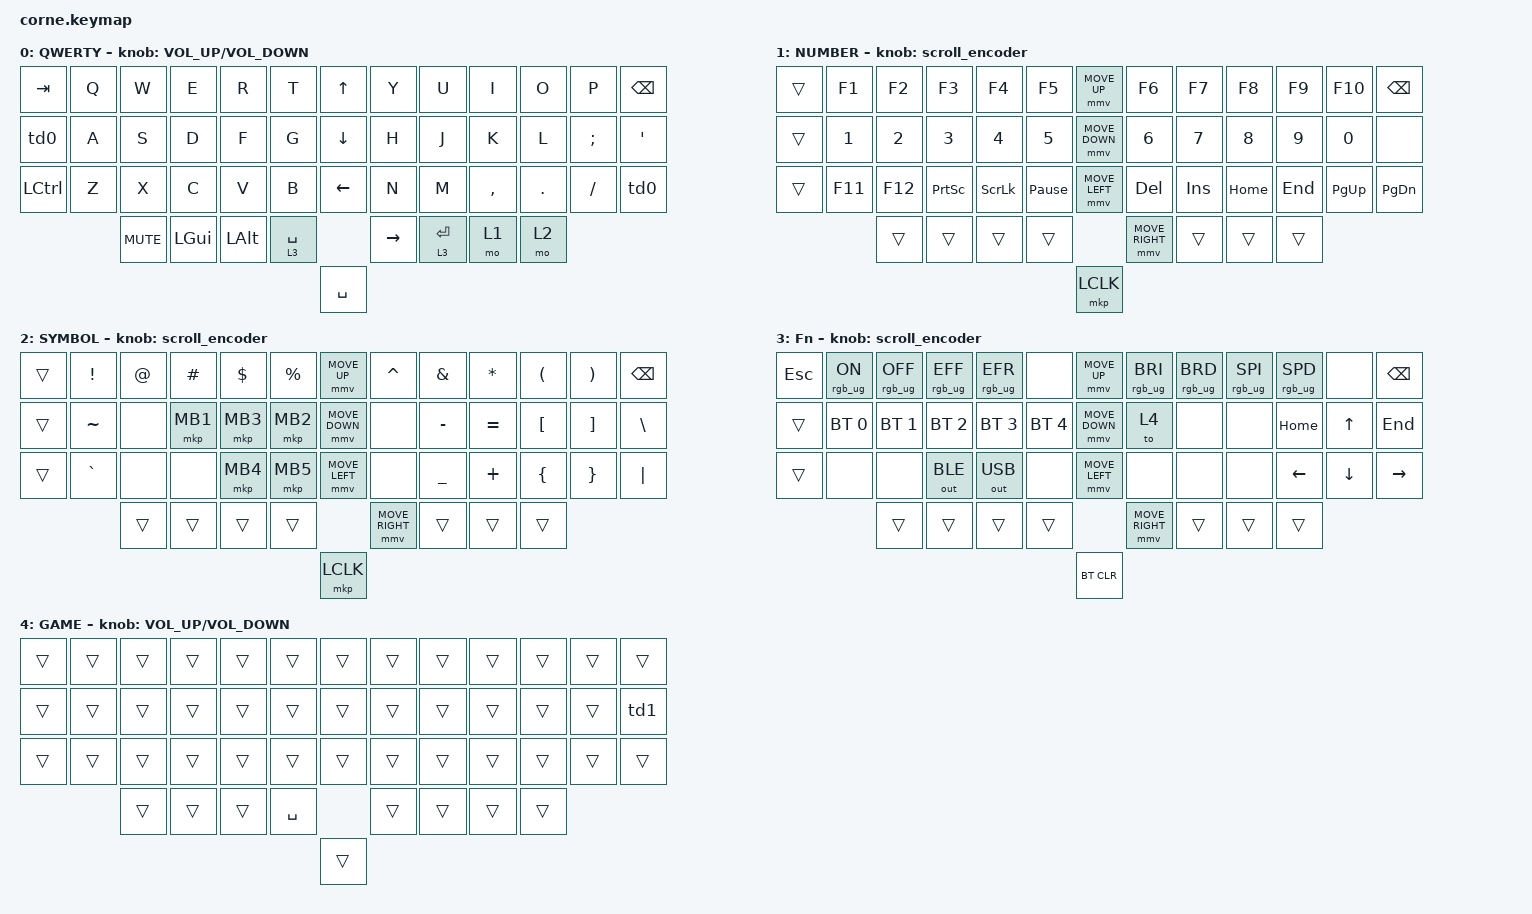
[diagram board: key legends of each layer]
#include <behaviors/mouse_keys.dtsi>
#include <behaviors.dtsi>
#include <dt-bindings/zmk/bt.h>
#include <dt-bindings/zmk/keys.h>
#include <dt-bindings/zmk/mouse.h>
#include <dt-bindings/zmk/outputs.h>
#include <dt-bindings/zmk/rgb.h>

#define ZMK_MOUSE_DEFAULT_MOVE_VAL 1200  // 600
#define ZMK_MOUSE_DEFAULT_SCRL_VAL 20    // 10
#define U_MS_U &mmv MOVE_UP
#define U_MS_D &mmv MOVE_DOWN
#define U_MS_L &mmv MOVE_LEFT
#define U_MS_R &mmv MOVE_RIGHT

/ {
    behaviors {
        td0: td0 {
            compatible = "zmk,behavior-tap-dance";
            label = "TD0";
            #binding-cells = <0>;
            bindings = <&kp LEFT_SHIFT>, <&kp CAPS>;
        };

        td1: td1 {
            compatible = "zmk,behavior-tap-dance";
            label = "TD1";
            #binding-cells = <0>;
            bindings = <&kp SQT>, <&to 0>;
        };

        mmv {
            acceleration-exponent = <1>;      // 1
            time-to-max-speed-ms = <900>;    // 40
            delay-ms = <0>;                   // 0
        };

        msc {
            acceleration-exponent = <1>;      // 0
            time-to-max-speed-ms = <400>;      // 500
            delay-ms = <0>;                   // 10
        };
    };

    rgb_encoder: rgb_encoder {
        compatible = "zmk,behavior-sensor-rotate";
        label = "RGB_ENCODER";
        #sensor-binding-cells = <0>;
        bindings = <&rgb_ug RGB_BRI>, <&rgb_ug RGB_BRD>;
    };

    scroll_encoder: scroll_encoder {
        compatible = "zmk,behavior-sensor-rotate";
        #sensor-binding-cells = <0>;
        bindings = <&msc SCRL_DOWN>, <&msc SCRL_UP>;

        tap-ms = <30>;
    };

    keymap {
        compatible = "zmk,keymap";

        default_layer {
            display-name = "QWERTY";

            // -------------------------------------------------------------------------------------------------------
            // | TAB   |  Q  |  W  |  E  |  R  |  T  |                ↑    |  Y  |  U   |  I  |  O  |  P  | BSPC  |
            // | SHIFT |  A  |  S  |  D  |  F  |  G  |                ↓    |  H  |  J   |  K  |  L  |  ;  |  '    | 
            // | CTRL  |  Z  |  X  |  C  |  V  |  B  |                ←    |  N  |  M   |  ,  |  .  |  /  | SHIFT |
            //                     | GUI | ALT | SPC |                →    | ENT | LWR  | RSE |
            //                                                      space

            bindings = <
&kp TAB    &kp Q  &kp W         &kp E     &kp R     &kp T          &kp UP_ARROW        &kp Y   &kp U  &kp I      &kp O    &kp P     &kp BSPC
&td0       &kp A  &kp S         &kp D     &kp F     &kp G          &kp DOWN_ARROW      &kp H   &kp J  &kp K      &kp L    &kp SEMI  &kp SQT
&kp LCTRL  &kp Z  &kp X         &kp C     &kp V     &kp B          &kp LEFT_ARROW      &kp N   &kp M  &kp COMMA  &kp DOT  &kp FSLH  &td0
                  &kp C_MUTE    &kp LGUI  &kp LALT  &lt 3 SPACE    &kp RIGHT_ARROW     &lt 3 ENTER    &mo 1    &mo 2
                                                                   &kp SPACE
            >;

            label = "QWERTY";
            sensor-bindings = <&inc_dec_kp C_VOLUME_UP C_VOLUME_DOWN>;
        };

        lower_layer {
            display-name = "NUMBER";

            // ----------------------------------------------------------------------------------------------------
            // |      | F1  | F2  | F3    | F4    | F5    |         | F6  | F7  | F8   | F9  | F10  | BSPC |
            // |      |  1  |  2  |  3    |  4    |  5    |         |  6  |  7  |  8   |  9  |  0   |      |
            // |      | F11 | F12 | PrtSc | ScrLk | Pause |         | DEL | INS | HOME | END | PGUP | PGDN |
            //                    |       |       |       |         |     |     |      |

            bindings = <
&trans    &kp F1     &kp F2     &kp F3           &kp F4          &kp F5            &mmv MOVE_UP       &kp F6       &kp F7       &kp F8       &kp F9      &kp F10       &kp BSPC
&trans    &kp N1     &kp N2     &kp N3           &kp N4          &kp N5            &mmv MOVE_DOWN     &kp N6       &kp N7       &kp N8       &kp N9      &kp N0        &none
&trans    &kp F11    &kp F12    &kp PRINTSCREEN  &kp SCROLLLOCK  &kp PAUSE_BREAK   &mmv MOVE_LEFT     &kp DEL      &kp INS      &kp HOME     &kp END     &kp PG_UP     &kp PG_DN
                     &trans     &trans           &trans          &trans            &mmv MOVE_RIGHT    &trans       &trans       &trans
                                                                                   &mkp LCLK
            >;

            label = "NUMBER";
            sensor-bindings = <&scroll_encoder>;
        };

        raise_layer {
            display-name = "SYMBOL";

            // -----------------------------------------------------------------------------------------
            // |     |  !  |  @  |  #  |  $  |  %  |          |  ^  |  &  |  *  |  (  |  )  | BSPC |
            // |     |  ~  |     | MB1 | MB3 | MB2 |          |     |  -  |  =  |  [  |  ]  |  \   |
            // |     |  `  |     |     | MB4 | MB5 |          |     |  _  |  +  |  {  |  }  | "|"  |
            //                   |     |     |     |          |     |     |     |

            bindings = <
&trans     &kp EXCL      &kp AT        &kp HASH   &kp DLLR   &kp PRCNT    &mmv MOVE_UP       &kp CARET  &kp AMPS   &kp ASTRK  &kp LPAR   &kp RPAR  &kp BSPC
&trans     &kp TILDE     &none         &mkp MB1   &mkp MB3   &mkp MB2     &mmv MOVE_DOWN     &none      &kp MINUS  &kp EQUAL  &kp LBKT   &kp RBKT  &kp BSLH
&trans     &kp GRAVE     &none         &none      &mkp MB4   &mkp MB5     &mmv MOVE_LEFT     &none      &kp UNDER  &kp PLUS   &kp LBRC   &kp RBRC  &kp PIPE
                         &trans        &trans     &trans     &trans       &mmv MOVE_RIGHT    &trans     &trans     &trans
                                                                          &mkp LCLK
            >;

            label = "SYMBOL";
            sensor-bindings = <&scroll_encoder>;
        };

        layer_3 {
            display-name = "Fn";

            // ------------------------------------------------------------------------------------------------------------------------------------------------
            // | ESC        | RGB_ON    | RGB_OFF  | RGB_EFF | RGB_EFR |       |          | RGB_BRI | RGB_BRD    | RGB_SPI  | RGB_SPD |         | BSPC  |
            // |            | BT1       | BT2      | BT3     | BT4     | BT5   |          | GAME    |            |          | HOME    | UP      | END   |
            // |            |           |          | OUT_BLE | OUT_USB |       |          |         |            |          | LEFT    | DOWN    | RIGHT |
            //                                     |         |         |       |          |         |            |          |

            bindings = <
&kp ESC         &rgb_ug RGB_ON      &rgb_ug RGB_OFF      &rgb_ug RGB_EFF       &rgb_ug RGB_EFR     &none           &mmv MOVE_UP      &rgb_ug RGB_BRI      &rgb_ug RGB_BRD     &rgb_ug RGB_SPI      &rgb_ug RGB_SPD    &none            &kp BSPC
&trans          &bt BT_SEL 0        &bt BT_SEL 1         &bt BT_SEL 2          &bt BT_SEL 3        &bt BT_SEL 4    &mmv MOVE_DOWN    &to 4                &none               &none                &kp HOME           &kp UP_ARROW     &kp END
&trans          &none               &none                &out OUT_BLE          &out OUT_USB        &none           &mmv MOVE_LEFT    &none                &none               &none                &kp LEFT_ARROW     &kp DOWN_ARROW   &kp RIGHT_ARROW
                                    &trans               &trans                &trans              &trans          &mmv MOVE_RIGHT   &trans               &trans              &trans
                                                                                                                   &bt BT_CLR
            >;

            label = "FN";
            sensor-bindings = <&scroll_encoder>;
        };

        layer_4 {
            display-name = "GAME";

            // ------------------------------------------------------------------------------------------------------------------------------------------------
            // |            |    |    |    |    |    |       |         |    |    |    |    |         |
            // |            |    |    |    |    |    |       |         |    |    |    |    | DEFAULT |
            // |            |    |    |    |    |    |       |         |    |    |    |    |         |
            //                             |    |    | SPACE |         |    |    |    |

            bindings = <
&trans          &trans      &trans      &trans       &trans       &trans           &trans        &trans       &trans      &trans      &trans      &trans      &trans
&trans          &trans      &trans      &trans       &trans       &trans           &trans        &trans       &trans      &trans      &trans      &trans      &td1
&trans          &trans      &trans      &trans       &trans       &trans           &trans        &trans       &trans      &trans      &trans      &trans      &trans
                            &trans      &trans       &trans       &kp SPACE        &trans        &trans       &trans      &trans
                                                                                   &trans
            >;

            label = "GAME";
            sensor-bindings = <&inc_dec_kp C_VOLUME_UP C_VOLUME_DOWN>;
        };
    };
};
